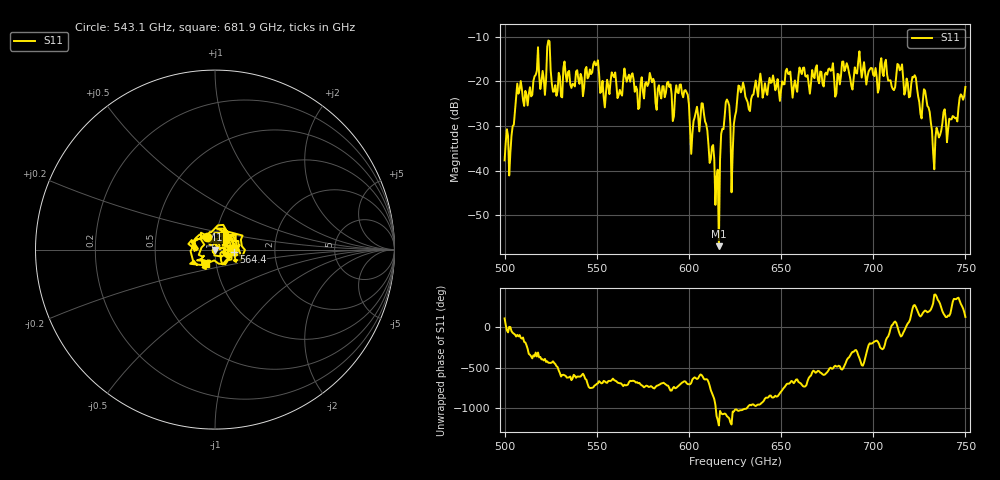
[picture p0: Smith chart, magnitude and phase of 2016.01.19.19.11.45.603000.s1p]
!Created with skrf (http://scikit-rf.org).
# GHz S RI R 50.0
!freq ReS11 ImS11
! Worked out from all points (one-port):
!   401 points, 500 GHz to 750 GHz, reference 50 ohm
!   lowest |S11| = -56.9 dB at 616.2 GHz (marker M1), VSWR 1.00, Z = 49.9 - j0.103 ohm
!   |S11| at or under -10 dB: start of sweep to end of sweep
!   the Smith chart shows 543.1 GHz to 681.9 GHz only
!   S11 on the Smith chart (normalised r, x): 543.1 GHz: 0.91, +0.13; 564.4 GHz: 1.23, -0.03; 681.9 GHz: 0.90, -0.14
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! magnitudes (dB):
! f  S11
! 500 GHz  -37.7
! 503.8 GHz  -32.1
! 508.1 GHz  -21.9
! 523.8 GHz  -10.8
! 526.9 GHz  -22.3
! 531.2 GHz  -23.6
! 543.1 GHz  -21.4
! 549.4 GHz  -16.4
! 553.1 GHz  -19.9
! 562.5 GHz  -21.9
! 564.4 GHz  -19.7
! 593.8 GHz  -22.4
! 601.9 GHz  -31.7
! 608.1 GHz  -27.2
! 615 GHz  -41.4
! 616.2 GHz  -56.9
! 620.6 GHz  -24.1
! 623.1 GHz  -44.8
! 625 GHz  -27.8
! 628.1 GHz  -22.5
! 656.2 GHz  -23.6
! 681.9 GHz  -20.7
! 687.5 GHz  -19.3
! 714.4 GHz  -17.5
! 718.8 GHz  -20.5
! 728.8 GHz  -23.9
! 733.8 GHz  -32.5
! 750 GHz  -21.2
